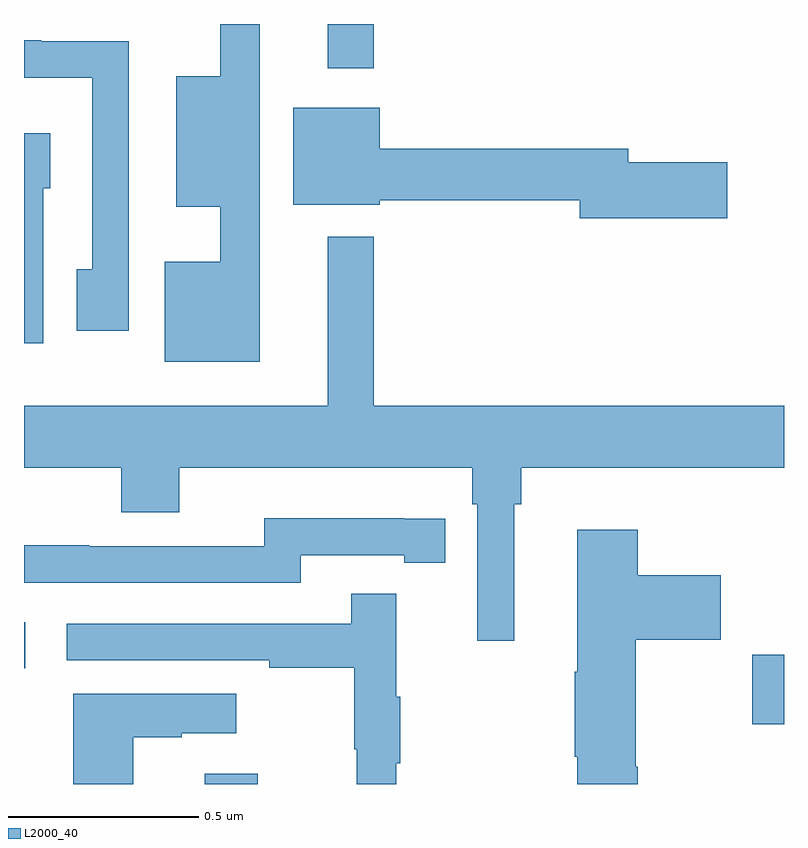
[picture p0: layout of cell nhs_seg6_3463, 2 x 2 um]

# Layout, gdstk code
import gdstk
lib = gdstk.Library(unit=1e-6, precision=1e-09)
def R(c, l, rs):  # rectangles x0, y0, x1, y1
    for r in rs: c.add(gdstk.rectangle(r[:2], r[2:], *l))
def P(c, l, *ps):  # polygons
    for p in ps: c.add(gdstk.Polygon(p, *l))
L2000_40 = (2000, 40)

nhs_seg6_3463 = lib.new_cell('nhs_seg6_3463')
R(nhs_seg6_3463, L2000_40, [(157.475,950.5,157.615,950.527), (158.916,950.657,159,950.84), (157,950.805,157.003,950.926), (157.799,952.383,157.921,952.5)])
P(nhs_seg6_3463, L2000_40, [(157.621,952.5),(157.517,952.5),(157.517,952.363),(157.4,952.363),(157.4,952.019),(157.517,952.019),(157.517,951.874),(157.37,951.874),(157.37,951.611),(157.621,951.611)],
  [(157.275,952.455),(157.045,952.455),(157.045,952.457),(157,952.457),(157,952.358),(157.179,952.358),(157.179,951.854),(157.139,951.854),(157.139,951.693),(157.275,951.693)],
  [(158.851,952.136),(158.59,952.136),(158.59,952.172),(157.936,952.172),(157.936,952.279),(157.709,952.279),(157.709,952.025),(157.936,952.025),(157.936,952.036),(158.462,952.036),(158.462,951.989),(158.851,951.989)],
  [(157.051,952.068),(157.069,952.068),(157.069,952.213),(157,952.213),(157,951.66),(157.051,951.66)],
  [(158.29,951.236),(158.309,951.236),(158.309,951.332),(159,951.332),(159,951.496),(157.921,951.496),(157.921,951.94),(157.799,951.94),(157.799,951.496),(157,951.496),(157,951.332),(157.256,951.332),(157.256,951.215),(157.408,951.215),(157.408,951.332),(158.18,951.332),(158.18,951.236),(158.193,951.236),(158.193,950.877),(158.29,950.877)],
  [(157.728,951.102),(158,951.102),(158,951.082),(158.108,951.082),(158.108,951.198),(158,951.198),(158,951.199),(157.632,951.199),(157.632,951.126),(157.172,951.126),(157.172,951.128),(157,951.128),(157,951.03),(157.728,951.03)],
  [(158.615,950.546),(158.61,950.546),(158.61,950.879),(158.833,950.879),(158.833,951.049),(158.615,951.049),(158.615,951.169),(158.456,951.169),(158.456,950.795),(158.449,950.795),(158.449,950.572),(158.456,950.572),(158.456,950.5),(158.615,950.5)],
  [(157.979,950.555),(157.99,950.555),(157.99,950.729),(157.979,950.729),(157.979,951.001),(157.861,951.001),(157.861,950.922),(157.113,950.922),(157.113,950.826),(157.645,950.826),(157.645,950.806),(157.869,950.806),(157.869,950.592),(157.876,950.592),(157.876,950.5),(157.979,950.5)],
  [(157.288,950.623),(157.415,950.623),(157.415,950.633),(157.558,950.633),(157.558,950.737),(157.13,950.737),(157.13,950.5),(157.288,950.5)])

lib.write_gds('nhs_seg6_3463.gds')
